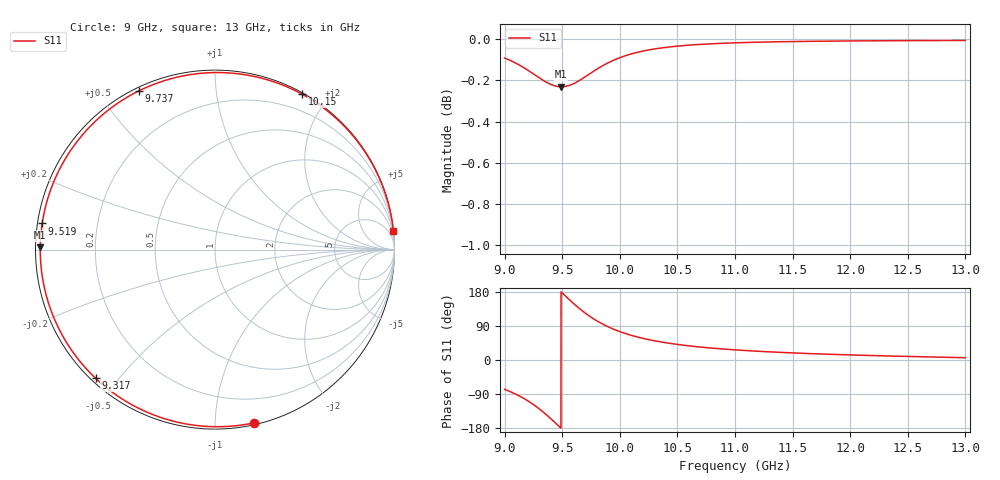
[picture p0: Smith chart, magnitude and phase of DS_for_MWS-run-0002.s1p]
! TOUCHSTONE file generated by CST DESIGN STUDIO
! Date and time: Tue Feb  4 17:50:43 2025
! Project name: C:\Work\MatlabApps\UnitCellOptimizationMatlab\CST\unitcell.cst
! Tree item: Tasks\Sweep1\SPara1\S-Parameters
! Header version: 2024
! Port assignment regex: !\s*Touchstone port\s*([0-9]+)\s*=\s*(CST MWS port|CST DES external port|CST DES block port)\s*(.+)\s* \(\"(.*)\"\)(\s*mode\s*([0-9]+))?.*
! Touchstone port assignment:
! Touchstone port 1 = CST DES external port 1 ("")
# GHz S MA R 50
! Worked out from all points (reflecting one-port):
!   4001 points, 9 GHz to 13 GHz, reference 50 ohm
!   lowest |S11| = -0.2 dB at 9.492 GHz (marker M1), VSWR 75.10, Z = 0.666 + j0.354 ohm
!   phase of S11 starts at -77 deg and turns -277 deg over the sweep
!   S11 on the Smith chart (normalised r, x): 9 GHz: 0.01, -1.25; 9.317 GHz: 0.01, -0.44; 9.519 GHz: 0.01, +0.08; 9.737 GHz: 0.01, +0.63; 10.15 GHz: 0.01, +1.71; 13 GHz: 0, +19
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9  0.9895 -77.4
9.081  0.9872 -87.8
9.181  0.9837 -103.9
9.252  0.9807 -118.0
9.317  0.978 -132.9
9.363  0.9762 -144.6
9.412  0.9747 -157.9
9.453  0.974 -169.5
9.492  0.9737 179.2
9.5  0.9737 176.9
9.519  0.9738 171.4
9.572  0.9747 156.3
9.632  0.9765 140.2
9.684  0.9786 127.4
9.737  0.9808 115.7
9.791  0.983 105.0
9.85  0.9852 94.9
9.924  0.9877 84.1
10  0.9897 74.9
10.153  0.9927 60.6
10.31  0.9947 50.2
10.5  0.9962 41.1
10.722  0.9972 33.5
11  0.998 26.7
11.5  0.9987 18.7
12  0.9991 13.3
12.5  0.9992 9.3
13  0.9993 6.1
